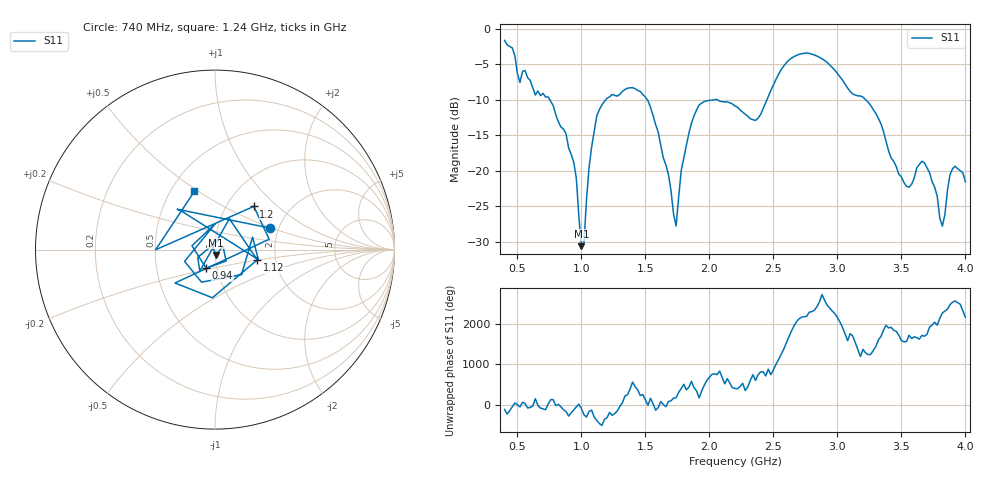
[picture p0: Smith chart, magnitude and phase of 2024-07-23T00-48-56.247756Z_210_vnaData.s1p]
!Created with skrf (http://scikit-rf.org).
# Hz S RI R 50.0
!freq ReS11 ImS11
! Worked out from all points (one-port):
!   181 points, 400 MHz to 4 GHz, reference 50 ohm
!   lowest |S11| = -30.6 dB at 1 GHz (marker M1), VSWR 1.06, Z = 50.3 - j2.94 ohm
!   |S11| at or under -10 dB: 752.6 MHz to 1.191 GHz (438.5 MHz wide, 45.1 % of centre); 1.514 GHz to 2.039 GHz (525.2 MHz wide, 29.6 % of centre); 3.22 GHz to end of sweep (the widest 3 of 4)
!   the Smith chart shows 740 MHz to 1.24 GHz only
!   S11 on the Smith chart (normalised r, x): 740 MHz: 1.80, +0.49; 940 MHz: 0.89, -0.19; 1.12 GHz: 1.60, -0.19; 1.2 GHz: 1.33, +0.72; 1.24 GHz: 0.65, +0.48
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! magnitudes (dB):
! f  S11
! 400 MHz  -1.7
! 520 MHz  -7.6
! 740 MHz  -9.6
! 860 MHz  -14.1
! 940 MHz  -18.8
! 1 GHz  -30.6
! 1.02 GHz  -30.2
! 1.06 GHz  -19.5
! 1.12 GHz  -12.3
! 1.2 GHz  -9.8
! 1.24 GHz  -9.3
! 1.3 GHz  -9.3
! 1.52 GHz  -10.2
! 1.68 GHz  -20.5
! 1.74 GHz  -27.8
! 1.76 GHz  -23.7
! 1.84 GHz  -14.7
! 1.92 GHz  -10.7
! 2.2 GHz  -10.9
! 2.36 GHz  -12.9
! 2.66 GHz  -3.9
! 3.1 GHz  -8.8
! 3.3 GHz  -11.9
! 3.56 GHz  -22.3
! 3.68 GHz  -18.9
! 3.82 GHz  -27.8
! 3.9 GHz  -19.7
! 4 GHz  -21.6
